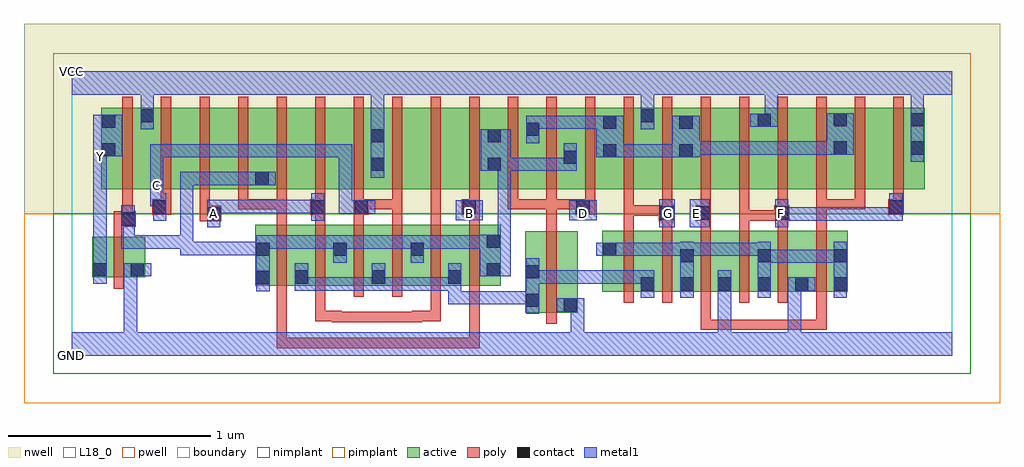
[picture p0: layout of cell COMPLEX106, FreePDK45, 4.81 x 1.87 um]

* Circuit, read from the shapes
.subckt COMPLEX106 A B C D E F G GND VCC Y
M1 GND n1 Y VSUBS nfet w=0.2u l=0.05u
M2 n2 B n1 VSUBS nfet w=0.3u l=0.05u m=2
M3 n1 A n2 VSUBS nfet w=0.3u l=0.05u m=2
M4 n2 C n1 VSUBS nfet w=0.3u l=0.05u m=2
M5 GND D n2 VSUBS nfet w=0.4u l=0.05u
M6 n2 G n3 VSUBS nfet w=0.3u l=0.05u m=2
M7 GND E n3 VSUBS nfet w=0.3u l=0.05u m=2
M8 n3 F GND VSUBS nfet w=0.3u l=0.05u m=2
M9 VCC n1 Y n4 pfet w=0.4u l=0.05u
M10 n5 C VCC n4 pfet w=0.4u l=0.05u
M11 n6 A n5 n4 pfet w=0.4u l=0.05u
M12 n1 B n6 n4 pfet w=0.4u l=0.05u
M13 n7 B n1 n4 pfet w=0.4u l=0.05u
M14 n8 A n7 n4 pfet w=0.4u l=0.05u
M15 VCC C n8 n4 pfet w=0.4u l=0.05u
M16 n9 C VCC n4 pfet w=0.4u l=0.05u
M17 n10 A n9 n4 pfet w=0.4u l=0.05u
M18 n1 B n10 n4 pfet w=0.4u l=0.05u
M19 n11 D n1 n4 pfet w=0.4u l=0.05u m=3
M20 VCC G n11 n4 pfet w=0.4u l=0.05u m=2
M21 n12 E n11 n4 pfet w=0.4u l=0.05u
M22 VCC F n12 n4 pfet w=0.4u l=0.05u
M23 n13 F VCC n4 pfet w=0.4u l=0.05u
M24 n11 E n13 n4 pfet w=0.4u l=0.05u
M25 n14 E n11 n4 pfet w=0.4u l=0.05u
M26 VCC F n14 n4 pfet w=0.4u l=0.05u
.ends

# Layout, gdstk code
import gdstk
lib = gdstk.Library(unit=1e-6, precision=1e-09)
def R(c, l, rs):  # rectangles x0, y0, x1, y1
    for r in rs: c.add(gdstk.rectangle(r[:2], r[2:], *l))
def A(c, l, x, y, w, h, nx, ny, dx, dy):  # array of equal rectangles
    R(c, l, [(x+i*dx, y+j*dy, x+i*dx+w, y+j*dy+h) for i in range(nx) for j in range(ny)])
active = (1, 0)
pwell = (2, 0)
nwell = (3, 0)
nimplant = (4, 0)
pimplant = (5, 0)
poly = (9, 0)
contact = (10, 0)
metal1 = (11, 0)
L18_0 = (18, 0)
boundary = (235, 0)

complex106 = lib.new_cell('COMPLEX106')
A(complex106, active, 2.615, 0.315, 0.26, 0.3, 3, 1, 0.38, 0)
A(complex106, active, 0.905, 0.345, 0.265, 0.3, 4, 1, 0.19, 0)
A(complex106, active, 0.56, 0.82, 0.19, 0.4, 3, 1, 0.57, 0)
R(complex106, active, [(2.235,0.212,2.495,0.612), (2.42,0.212,2.495,0.612), (2.235,0.215,2.31,0.612), (2.8,0.315,3.07,0.615), (2.8,0.315,2.875,0.392), (2.995,0.315,3.07,0.53), (3.18,0.315,3.255,0.437), (3.18,0.315,3.45,0.615), (3.375,0.315,3.45,0.53), (3.56,0.315,3.825,0.615), (3.56,0.315,3.635,0.437), (3.75,0.315,3.825,0.615), (0.905,0.345,0.98,0.645), (1.095,0.345,1.17,0.437), (1.285,0.345,1.36,0.645), (1.475,0.345,1.55,0.642), (1.665,0.345,1.925,0.645), (1.665,0.345,1.74,0.562), (1.85,0.345,2.115,0.645), (1.85,0.345,1.925,0.437), (2.04,0.345,2.115,0.645), (2.615,0.345,2.69,0.615), (0.102,0.385,0.177,0.585), (0.102,0.385,0.362,0.585), (0.287,0.385,0.362,0.585), (0.145,0.82,0.22,1.2), (0.145,0.82,0.41,1.22), (0.335,0.82,0.41,1.22), (0.335,0.82,0.56,1.22), (0.75,0.82,0.975,1.22), (0.9,0.82,1.13,1.22), (0.9,0.82,0.975,1.07), (1.32,0.82,1.545,1.22), (1.47,0.82,1.545,1.22), (1.47,0.82,1.7,1.22), (1.89,0.82,2.12,1.22), (2.045,0.82,2.12,1.2), (2.045,0.82,2.31,1.22), (2.235,0.82,2.495,1.22), (2.235,0.82,2.31,1.2), (2.42,0.82,2.69,1.22), (2.42,0.82,2.495,1.07), (2.615,0.82,2.875,1.22), (2.615,0.82,2.69,1.2), (2.8,0.82,2.875,1.22), (2.8,0.82,3.065,1.22), (2.99,0.82,3.22,1.22), (2.99,0.82,3.065,1.187), (3.22,0.82,3.45,1.22), (3.375,0.82,3.6,1.22), (3.6,0.82,3.825,1.22), (3.75,0.82,3.825,1.2), (3.75,0.82,3.98,1.22), (3.98,0.82,4.205,1.22), (4.13,0.82,4.205,1.2), (3.375,0.827,3.45,1.197)])
R(complex106, pwell, [(-0.235,-0.235,4.575,0.7)])
R(complex106, nwell, [(-0.235,0.7,4.575,1.635)])
R(complex106, nimplant, [(-0.09,-0.09,4.43,0.7)])
R(complex106, pimplant, [(-0.09,0.7,4.43,1.49)])
A(complex106, poly, 2.72, 0.26, 0.05, 0.41, 6, 1, 0.19, 0)
A(complex106, poly, 1.01, 0.29, 0.05, 0.41, 6, 1, 0.19, 0)
A(complex106, poly, 2.91, 0.62, 0.05, 0.095, 4, 1, 0.19, 0)
A(complex106, poly, 2.72, 0.69, 0.05, 0.125, 3, 1, 0.19, 0)
A(complex106, poly, 0.82, 0.72, 0.05, 0.095, 5, 1, 0.19, 0)
A(complex106, poly, 1.96, 0.72, 0.05, 0.095, 4, 1, 0.19, 0)
A(complex106, poly, 3.67, 0.72, 0.05, 0.095, 3, 1, 0.19, 0)
A(complex106, poly, 0.25, 0.765, 0.05, 0.51, 21, 1, 0.19, 0)
R(complex106, poly, [(1.01,0.037,1.06,0.087), (1.01,0.037,1.06,0.087), (1.01,0.037,1.06,0.087), (1.01,0.037,1.06,0.087), (1.01,0.037,1.06,0.087), (1.01,0.037,1.06,0.34), (1.01,0.037,1.2,0.087), (1.15,0.037,1.2,0.087), (1.15,0.037,1.2,0.087), (1.15,0.037,1.2,0.087), (1.15,0.037,1.465,0.087), (1.415,0.037,1.465,0.087), (1.415,0.037,1.465,0.087), (1.415,0.037,1.465,0.087), (1.415,0.037,1.687,0.087), (1.637,0.037,1.687,0.087), (1.637,0.037,1.687,0.087), (1.637,0.037,1.687,0.087), (1.637,0.037,1.84,0.087), (1.79,0.037,1.84,0.087), (1.79,0.037,2.01,0.087), (1.96,0.037,2.01,0.087), (1.96,0.037,2.01,0.087), (1.96,0.037,2.01,0.087), (1.96,0.037,2.01,0.087), (1.96,0.037,2.01,0.087), (1.96,0.037,2.01,0.34), (3.1,0.127,3.15,0.177), (3.1,0.127,3.15,0.31), (3.1,0.127,3.282,0.177), (3.232,0.127,3.282,0.177), (3.232,0.127,3.282,0.177), (3.232,0.127,3.282,0.177), (3.232,0.127,3.472,0.177), (3.422,0.127,3.472,0.177), (3.422,0.127,3.472,0.177), (3.422,0.127,3.472,0.177), (3.422,0.127,3.72,0.177), (3.67,0.127,3.72,0.177), (3.67,0.127,3.72,0.177), (3.67,0.127,3.72,0.177), (3.67,0.127,3.72,0.31), (2.34,0.157,2.39,0.667), (1.282,0.165,1.332,0.22), (1.282,0.165,1.442,0.215), (1.392,0.165,1.442,0.215), (1.392,0.165,1.53,0.215), (1.48,0.165,1.53,0.215), (1.48,0.165,1.632,0.215), (1.582,0.165,1.632,0.215), (1.582,0.165,1.727,0.215), (1.677,0.165,1.727,0.22), (1.2,0.17,1.25,0.22), (1.2,0.17,1.25,0.34), (1.2,0.17,1.332,0.22), (1.677,0.17,1.82,0.22), (1.77,0.17,1.82,0.22), (1.77,0.17,1.82,0.34), (0.207,0.33,0.257,0.64), (0.207,0.59,0.257,0.685), (2.34,0.617,2.39,0.77), (2.72,0.62,2.77,0.74), (3.67,0.62,3.72,0.77), (0.207,0.635,0.315,0.71), (1.01,0.65,1.06,0.77), (1.2,0.65,1.25,0.745), (1.39,0.65,1.44,0.745), (1.58,0.65,1.63,0.77), (1.77,0.65,1.82,0.745), (1.96,0.65,2.01,0.745), (0.25,0.66,0.3,0.815), (0.63,0.662,0.737,0.737), (2.892,0.665,2.967,0.74), (3.075,0.665,3.15,0.74), (3.29,0.665,3.34,0.715), (3.29,0.665,3.34,0.815), (3.29,0.665,3.512,0.715), (3.462,0.665,3.537,0.74), (3.462,0.665,3.512,0.715), (3.462,0.665,3.512,0.715), (0.63,0.687,0.68,0.815), (2.72,0.69,2.77,0.74), (2.72,0.69,2.77,0.74), (2.72,0.69,2.77,0.74), (2.72,0.69,2.942,0.74), (3.48,0.69,3.53,0.815), (0.397,0.695,0.49,0.77), (1.175,0.695,1.25,0.77), (1.39,0.695,1.465,0.77), (1.77,0.695,1.82,0.745), (1.77,0.695,1.82,0.815), (1.922,0.695,2.01,0.77), (2.482,0.695,2.58,0.77), (4.025,0.695,4.1,0.77), (0.44,0.72,0.49,0.815), (0.82,0.72,0.87,0.77), (0.82,0.72,0.87,0.77), (0.82,0.72,0.87,0.77), (0.82,0.72,1.06,0.77), (1.01,0.72,1.06,0.77), (1.415,0.72,1.465,0.77), (1.415,0.72,1.465,0.77), (1.415,0.72,1.63,0.77), (1.58,0.72,1.63,0.77), (2.15,0.72,2.2,0.77), (2.15,0.72,2.2,0.77), (2.15,0.72,2.2,0.77), (2.15,0.72,2.39,0.77), (2.34,0.72,2.39,0.77), (2.34,0.72,2.532,0.77), (2.482,0.72,2.532,0.77), (2.482,0.72,2.532,0.77), (3.67,0.72,3.72,0.77), (3.67,0.72,3.91,0.77), (3.86,0.72,3.91,0.77), (3.86,0.72,3.91,0.77), (3.86,0.72,3.91,0.77)])
A(complex106, contact, 0.91, 0.492, 0.065, 0.065, 3, 1, 0.38, 0)
R(complex106, contact, [(2.425,0.217,2.49,0.282), (2.24,0.24,2.305,0.305), (2.805,0.32,2.87,0.385), (3,0.32,3.065,0.385), (3.185,0.32,3.25,0.385), (3.38,0.32,3.445,0.385), (3.565,0.32,3.63,0.385), (3.755,0.32,3.82,0.385), (0.91,0.352,0.975,0.417), (1.1,0.355,1.165,0.42), (1.48,0.355,1.545,0.42), (1.855,0.355,1.92,0.42), (2.24,0.38,2.305,0.445), (0.107,0.39,0.172,0.455), (0.292,0.39,0.357,0.455), (2.045,0.39,2.11,0.455), (3,0.46,3.065,0.525), (3.38,0.46,3.445,0.525), (3.755,0.46,3.82,0.525), (2.62,0.492,2.685,0.557), (2.045,0.53,2.11,0.595), (0.245,0.64,0.31,0.705), (0.667,0.667,0.732,0.732), (2.897,0.67,2.962,0.735), (3.08,0.67,3.145,0.735), (3.467,0.67,3.532,0.735), (0.402,0.7,0.467,0.765), (1.18,0.7,1.245,0.765), (1.395,0.7,1.46,0.765), (1.927,0.7,1.992,0.765), (2.487,0.7,2.552,0.765), (4.03,0.7,4.095,0.765), (0.905,0.84,0.97,0.905), (1.475,0.91,1.54,0.975), (2.05,0.91,2.115,0.975), (2.425,0.945,2.49,1.01), (2.62,0.977,2.685,1.042), (2.995,0.977,3.06,1.042), (0.15,0.982,0.215,1.047), (3.755,0.99,3.82,1.055), (4.135,0.99,4.2,1.055), (1.475,1.05,1.54,1.115), (2.05,1.05,2.115,1.115), (2.24,1.082,2.305,1.147), (2.62,1.117,2.685,1.182), (2.995,1.117,3.06,1.182), (0.15,1.122,0.215,1.187), (3.38,1.127,3.445,1.192), (3.755,1.13,3.82,1.195), (4.135,1.13,4.2,1.195), (0.34,1.15,0.405,1.215), (2.805,1.15,2.87,1.215)])
R(complex106, metal1, [(0,0,4.34,0.115), (0.257,0.05,0.322,0.115), (0.257,0.05,0.322,0.115), (0.257,0.05,0.322,0.115), (0.257,0.05,0.322,0.115), (0.257,0.05,0.322,0.455), (2.46,0.05,2.525,0.282), (3.185,0.05,3.25,0.115), (3.185,0.05,3.25,0.115), (3.185,0.05,3.25,0.35), (3.53,0.05,3.595,0.115), (3.53,0.05,3.595,0.115), (3.53,0.05,3.595,0.385), (2.24,0.205,2.305,0.48), (2.39,0.217,2.525,0.282), (2.46,0.217,2.525,0.282), (2.46,0.217,2.525,0.282), (1.855,0.252,2.165,0.317), (1.855,0.252,1.92,0.385), (2.1,0.252,2.165,0.317), (2.1,0.252,2.165,0.317), (2.1,0.252,2.165,0.317), (2.1,0.252,2.305,0.317), (2.805,0.285,2.87,0.42), (3,0.285,3.065,0.56), (3.185,0.285,3.25,0.42), (3.185,0.285,3.25,0.35), (3.185,0.285,3.25,0.35), (3.38,0.285,3.445,0.56), (3.755,0.285,3.82,0.56), (0.91,0.317,0.975,0.592), (1.1,0.32,1.165,0.455), (1.1,0.32,1.265,0.385), (1.2,0.32,1.265,0.385), (1.2,0.32,1.402,0.385), (1.337,0.32,1.402,0.385), (1.337,0.32,1.402,0.385), (1.337,0.32,1.402,0.385), (1.337,0.32,1.545,0.385), (1.48,0.32,1.545,0.455), (1.48,0.32,1.545,0.385), (1.48,0.32,1.545,0.385), (1.48,0.32,1.782,0.385), (1.717,0.32,1.92,0.385), (1.717,0.32,1.782,0.385), (1.717,0.32,1.782,0.385), (1.717,0.32,1.782,0.385), (1.855,0.32,1.92,0.455), (1.855,0.32,1.92,0.385), (3.53,0.32,3.595,0.385), (3.53,0.32,3.595,0.385), (3.53,0.32,3.665,0.385), (0.107,0.355,0.172,0.49), (2.24,0.355,2.305,0.42), (2.24,0.355,2.305,0.42), (2.24,0.355,2.512,0.42), (2.447,0.355,2.512,0.42), (2.447,0.355,2.512,0.42), (2.447,0.355,2.512,0.42), (2.447,0.355,2.72,0.42), (2.655,0.355,2.72,0.42), (2.655,0.355,2.72,0.42), (2.655,0.355,2.72,0.42), (2.655,0.355,2.87,0.42), (0.257,0.39,0.322,0.455), (0.257,0.39,0.322,0.455), (0.257,0.39,0.392,0.455), (2.01,0.39,2.165,0.595), (0.107,0.425,0.172,0.977), (1.29,0.457,1.355,0.592), (1.67,0.457,1.735,0.592), (3.38,0.457,3.595,0.522), (3.53,0.457,3.595,0.522), (3.53,0.457,3.595,0.522), (3.53,0.457,3.595,0.522), (3.53,0.457,3.82,0.522), (3.755,0.457,3.82,0.522), (3.755,0.457,3.82,0.522), (2.585,0.492,2.72,0.557), (2.655,0.492,2.72,0.557), (2.655,0.492,2.72,0.557), (2.655,0.492,2.857,0.557), (2.792,0.492,2.857,0.557), (2.792,0.492,2.857,0.557), (2.792,0.492,2.857,0.557), (2.792,0.492,3.065,0.557), (3,0.492,3.065,0.557), (3,0.492,3.065,0.557), (3,0.492,3.272,0.557), (3.207,0.492,3.272,0.557), (3.207,0.492,3.37,0.557), (3.305,0.492,3.37,0.557), (3.305,0.492,3.445,0.557), (0.535,0.495,0.737,0.56), (0.535,0.495,0.6,0.592), (0.672,0.495,0.875,0.56), (0.672,0.495,0.737,0.56), (0.672,0.495,0.737,0.56), (0.672,0.495,0.737,0.56), (0.81,0.495,0.875,0.56), (0.81,0.495,0.975,0.56), (0.245,0.527,0.31,0.592), (0.245,0.527,0.447,0.592), (0.245,0.527,0.31,0.67), (0.382,0.527,0.447,0.592), (0.382,0.527,0.447,0.592), (0.382,0.527,0.447,0.592), (0.382,0.527,0.6,0.592), (0.535,0.527,0.6,0.592), (0.535,0.527,0.6,0.592), (0.535,0.527,0.6,0.905), (0.91,0.527,1.012,0.592), (0.947,0.527,1.15,0.592), (0.947,0.527,1.012,0.592), (1.085,0.527,1.15,0.592), (1.085,0.527,1.265,0.592), (1.2,0.527,1.265,0.592), (1.2,0.527,1.355,0.592), (1.29,0.527,1.407,0.592), (1.342,0.527,1.407,0.592), (1.342,0.527,1.56,0.592), (1.495,0.527,1.56,0.592), (1.495,0.527,1.56,0.592), (1.495,0.527,1.56,0.592), (1.495,0.527,1.735,0.592), (1.67,0.527,1.735,0.592), (1.67,0.527,1.735,0.592), (1.67,0.527,1.92,0.592), (1.855,0.527,1.92,0.592), (1.855,0.527,1.92,0.592), (1.855,0.527,1.92,0.592), (1.855,0.527,2.075,0.592), (2.1,0.53,2.165,0.975), (0.245,0.605,0.31,0.74), (0.667,0.632,0.732,0.767), (2.895,0.632,2.972,0.77), (3.047,0.632,3.145,0.77), (3.467,0.632,3.532,0.77), (0.402,0.665,0.467,0.8), (1.18,0.665,1.245,0.8), (3.467,0.665,3.595,0.73), (3.53,0.665,3.595,0.73), (3.53,0.665,3.732,0.73), (3.667,0.665,3.732,0.73), (3.667,0.665,3.732,0.73), (3.667,0.665,3.732,0.73), (3.667,0.665,3.957,0.73), (3.892,0.665,4.095,0.73), (3.892,0.665,3.957,0.73), (3.892,0.665,3.957,0.73), (3.892,0.665,3.957,0.73), (4.03,0.665,4.095,0.8), (1.892,0.667,2.027,0.765), (2.452,0.667,2.587,0.765), (1.317,0.7,1.382,0.765), (1.317,0.7,1.382,0.765), (1.317,0.7,1.382,0.765), (1.317,0.7,1.425,0.765), (1.317,0.7,1.382,1.042), (1.36,0.7,1.495,0.765), (0.667,0.702,0.737,0.767), (0.672,0.702,0.875,0.767), (0.672,0.702,0.737,0.767), (0.81,0.702,0.875,0.767), (0.81,0.702,1.012,0.767), (0.947,0.702,1.012,0.767), (0.947,0.702,1.012,0.767), (0.947,0.702,1.012,0.767), (0.947,0.702,1.167,0.767), (1.102,0.702,1.167,0.767), (1.102,0.702,1.245,0.767), (0.387,0.735,0.467,0.8), (0.387,0.735,0.452,0.907), (0.535,0.84,0.6,0.905), (0.535,0.84,0.737,0.905), (0.672,0.84,0.875,0.905), (0.672,0.84,0.737,0.905), (0.672,0.84,0.737,0.905), (0.672,0.84,0.737,0.905), (0.81,0.84,0.875,0.905), (0.81,0.84,0.935,0.905), (0.87,0.84,1.005,0.905), (0.387,0.842,0.452,1.042), (1.475,0.875,1.54,1.15), (2.015,0.91,2.165,1.115), (2.1,0.91,2.165,0.975), (2.1,0.91,2.165,0.975), (2.1,0.91,2.165,0.975), (2.1,0.91,2.165,0.975), (2.1,0.91,2.302,0.975), (2.237,0.91,2.302,0.975), (2.237,0.91,2.302,0.975), (2.237,0.91,2.302,0.975), (2.237,0.91,2.49,0.975), (2.425,0.91,2.49,1.045), (0.107,0.912,0.172,1.047), (4.135,0.955,4.2,1.23), (0.387,0.977,0.59,1.042), (0.387,0.977,0.452,1.042), (0.387,0.977,0.452,1.042), (0.387,0.977,0.452,1.042), (0.525,0.977,0.59,1.042), (0.525,0.977,0.59,1.042), (0.525,0.977,0.59,1.042), (0.525,0.977,0.737,1.042), (0.672,0.977,0.875,1.042), (0.672,0.977,0.737,1.042), (0.672,0.977,0.737,1.042), (0.672,0.977,0.737,1.042), (0.81,0.977,0.875,1.042), (0.81,0.977,0.875,1.042), (0.81,0.977,0.875,1.042), (0.81,0.977,1.012,1.042), (0.947,0.977,1.15,1.042), (0.947,0.977,1.012,1.042), (1.085,0.977,1.15,1.042), (1.085,0.977,1.15,1.042), (1.085,0.977,1.15,1.042), (1.085,0.977,1.382,1.042), (1.317,0.977,1.382,1.042), (2.585,0.977,2.72,1.182), (2.655,0.977,2.72,1.042), (2.655,0.977,2.72,1.042), (2.655,0.977,2.887,1.042), (2.822,0.977,3.025,1.042), (2.822,0.977,2.887,1.042), (2.822,0.977,2.887,1.042), (2.822,0.977,2.887,1.042), (2.96,0.977,3.095,1.182), (0.107,0.982,0.172,1.047), (0.107,0.982,0.25,1.187), (3.03,0.99,3.232,1.055), (3.167,0.99,3.37,1.055), (3.167,0.99,3.232,1.055), (3.167,0.99,3.232,1.055), (3.167,0.99,3.232,1.055), (3.305,0.99,3.37,1.055), (3.305,0.99,3.457,1.055), (3.392,0.99,3.595,1.055), (3.392,0.99,3.457,1.055), (3.53,0.99,3.595,1.055), (3.53,0.99,3.595,1.055), (3.53,0.99,3.595,1.055), (3.53,0.99,3.785,1.055), (3.72,0.99,3.785,1.055), (3.72,0.99,3.785,1.055), (3.72,0.99,3.855,1.195), (2.24,1.047,2.305,1.182), (1.475,1.085,1.54,1.35), (0.34,1.115,0.405,1.25), (2.805,1.115,2.87,1.25), (2.24,1.117,2.305,1.182), (2.24,1.117,2.305,1.182), (2.24,1.117,2.442,1.182), (2.377,1.117,2.442,1.182), (2.377,1.117,2.442,1.182), (2.377,1.117,2.442,1.182), (2.377,1.117,2.65,1.182), (3.345,1.127,3.48,1.192), (3.415,1.127,3.48,1.35), (4.135,1.165,4.2,1.35), (0.34,1.185,0.405,1.35), (2.805,1.185,2.87,1.35), (0,1.285,4.34,1.4)])
R(complex106, L18_0, [(0,0,4.34,0.115), (0.257,0.05,0.322,0.115), (0.257,0.05,0.322,0.115), (0.257,0.05,0.322,0.115), (0.257,0.05,0.322,0.115), (0.257,0.05,0.322,0.455), (2.46,0.05,2.525,0.282), (3.185,0.05,3.25,0.115), (3.185,0.05,3.25,0.115), (3.185,0.05,3.25,0.35), (3.53,0.05,3.595,0.115), (3.53,0.05,3.595,0.115), (3.53,0.05,3.595,0.385), (2.39,0.217,2.525,0.282), (2.46,0.217,2.525,0.282), (2.46,0.217,2.525,0.282), (3.185,0.285,3.25,0.42), (3.185,0.285,3.25,0.35), (3.185,0.285,3.25,0.35), (3.53,0.32,3.595,0.385), (3.53,0.32,3.595,0.385), (3.53,0.32,3.665,0.385), (0.107,0.355,0.172,0.49), (0.257,0.39,0.322,0.455), (0.257,0.39,0.322,0.455), (0.257,0.39,0.392,0.455), (0.107,0.425,0.172,0.977), (0.667,0.632,0.732,0.767), (2.895,0.632,2.972,0.77), (3.047,0.632,3.145,0.77), (3.467,0.632,3.532,0.77), (0.402,0.665,0.467,0.8), (1.18,0.665,1.245,0.8), (3.467,0.665,3.595,0.73), (3.53,0.665,3.595,0.73), (3.53,0.665,3.732,0.73), (3.667,0.665,3.732,0.73), (3.667,0.665,3.732,0.73), (3.667,0.665,3.732,0.73), (3.667,0.665,3.957,0.73), (3.892,0.665,3.957,0.73), (3.892,0.665,3.957,0.73), (3.892,0.665,3.957,0.73), (3.892,0.665,4.095,0.73), (4.03,0.665,4.095,0.8), (0.667,0.667,0.732,0.732), (1.892,0.667,2.027,0.765), (1.927,0.667,1.992,0.732), (2.452,0.667,2.587,0.765), (2.487,0.667,2.552,0.732), (2.907,0.667,2.972,0.732), (3.047,0.667,3.112,0.732), (3.467,0.667,3.532,0.732), (1.317,0.7,1.382,0.765), (1.317,0.7,1.382,0.765), (1.317,0.7,1.382,0.765), (1.317,0.7,1.382,1.042), (1.317,0.7,1.425,0.765), (1.36,0.7,1.495,0.765), (0.667,0.702,0.737,0.767), (0.672,0.702,0.737,0.767), (0.672,0.702,0.875,0.767), (0.81,0.702,0.875,0.767), (0.81,0.702,1.012,0.767), (0.947,0.702,1.012,0.767), (0.947,0.702,1.012,0.767), (0.947,0.702,1.012,0.767), (0.947,0.702,1.167,0.767), (1.102,0.702,1.167,0.767), (1.102,0.702,1.245,0.767), (0.387,0.735,0.452,0.907), (0.387,0.735,0.467,0.8), (0.387,0.807,0.452,0.872), (0.387,0.842,0.452,1.042), (1.475,0.875,1.54,1.15), (0.107,0.912,0.172,1.047), (0.107,0.947,0.172,1.012), (4.135,0.955,4.2,1.23), (0.387,0.977,0.452,1.042), (0.387,0.977,0.452,1.042), (0.387,0.977,0.452,1.042), (0.387,0.977,0.59,1.042), (0.525,0.977,0.59,1.042), (0.525,0.977,0.59,1.042), (0.525,0.977,0.59,1.042), (0.525,0.977,0.737,1.042), (0.672,0.977,0.737,1.042), (0.672,0.977,0.737,1.042), (0.672,0.977,0.737,1.042), (0.672,0.977,0.875,1.042), (0.81,0.977,0.875,1.042), (0.81,0.977,0.875,1.042), (0.81,0.977,0.875,1.042), (0.81,0.977,1.012,1.042), (0.947,0.977,1.012,1.042), (0.947,0.977,1.15,1.042), (1.085,0.977,1.15,1.042), (1.085,0.977,1.15,1.042), (1.085,0.977,1.15,1.042), (1.085,0.977,1.382,1.042), (1.317,0.977,1.382,1.042), (0.107,0.982,0.25,1.187), (0.107,0.982,0.172,1.047), (1.475,1.085,1.54,1.35), (0.34,1.115,0.405,1.25), (2.805,1.115,2.87,1.25), (3.345,1.127,3.48,1.192), (3.415,1.127,3.48,1.35), (4.135,1.165,4.2,1.35), (0.34,1.185,0.405,1.35), (2.805,1.185,2.87,1.35), (0,1.285,4.34,1.4)])
R(complex106, boundary, [(0,0,4.34,1.4)])
complex106.add(gdstk.Label('A', (0.7,0.7), layer=11, texttype=0))
complex106.add(gdstk.Label('B', (1.96,0.7), layer=11, texttype=0))
complex106.add(gdstk.Label('C', (0.42,0.84), layer=11, texttype=0))
complex106.add(gdstk.Label('D', (2.52,0.7), layer=11, texttype=0))
complex106.add(gdstk.Label('E', (3.08,0.7), layer=11, texttype=0))
complex106.add(gdstk.Label('F', (3.5,0.7), layer=11, texttype=0))
complex106.add(gdstk.Label('G', (2.94,0.7), layer=11, texttype=0))
complex106.add(gdstk.Label('Y', (0.14,0.98), layer=11, texttype=0))
complex106.add(gdstk.Label('VCC', (0,1.4), layer=11, texttype=0))
complex106.add(gdstk.Label('GND', (0,0), layer=11, texttype=0))

lib.write_gds('COMPLEX106.gds')
